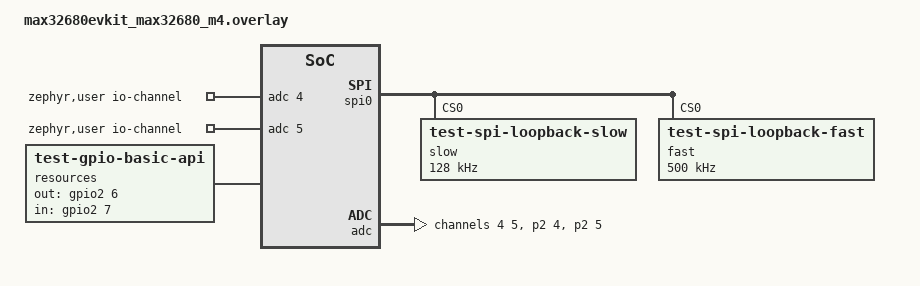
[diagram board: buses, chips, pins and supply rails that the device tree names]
/*
 * Copyright (c) 2024 Analog Devices, Inc.
 *
 * SPDX-License-Identifier: Apache-2.0
 */

tst_dma0: &dma0 {};

&spi0 {
	dmas = <&dma0 1 MAX32_DMA_SLOT_SPI0_TX>, <&dma0 2 MAX32_DMA_SLOT_SPI0_RX>;
	dma-names = "tx", "rx";
	slow@0 {
		compatible = "test-spi-loopback-slow";
		reg = <0>;
		spi-max-frequency = <128000>;
	};
	fast@0 {
		compatible = "test-spi-loopback-fast";
		reg = <0>;
		spi-max-frequency = <500000>;
	};
};

/ {
	zephyr,user {
		io-channels = <&adc 4>, <&adc 5>;
	};
};

&adc {
	status = "okay";
	pinctrl-0 = <&ain12_p2_4 &ain13_p2_5>;
	pinctrl-names = "default";
	#address-cells = <1>;
	#size-cells = <0>;
	channel@4 {
		reg = <4>;
		zephyr,gain = "ADC_GAIN_1";
		zephyr,reference = "ADC_REF_INTERNAL";
		zephyr,acquisition-time = <ADC_ACQ_TIME_DEFAULT>;
		zephyr,resolution = <10>;
	};
	channel@5 {
		reg = <5>;
		zephyr,gain = "ADC_GAIN_1";
		zephyr,reference = "ADC_REF_INTERNAL";
		zephyr,acquisition-time = <ADC_ACQ_TIME_DEFAULT>;
		zephyr,resolution = <10>;
	};
};

/ {
	resources {
		compatible = "test-gpio-basic-api";
		out-gpios = <&gpio2 6 0>;
		in-gpios = <&gpio2 7 0>;
	};
};
